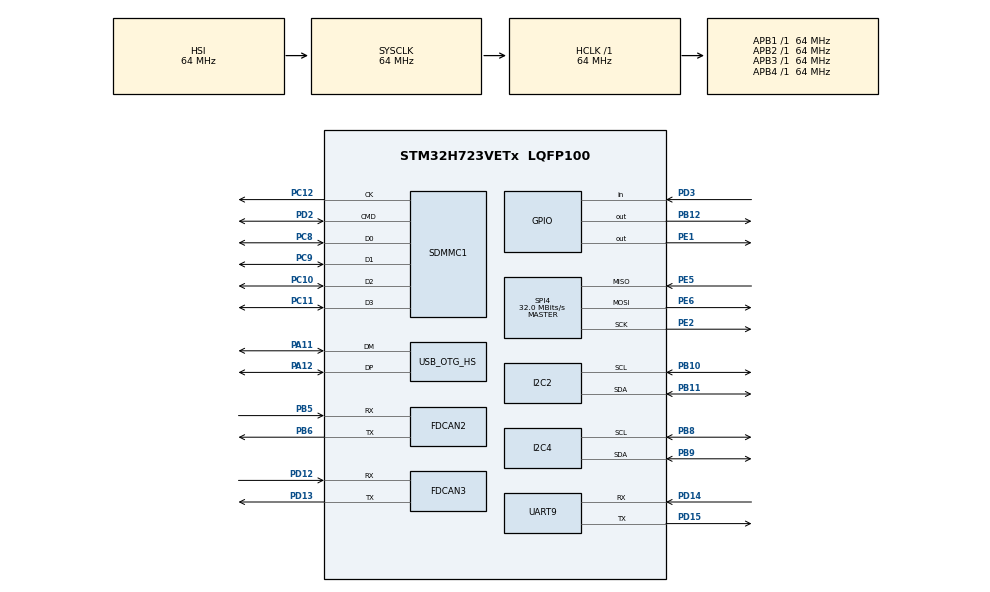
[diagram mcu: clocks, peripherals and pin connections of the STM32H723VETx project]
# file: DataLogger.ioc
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FDCAN2.CalculateBaudRateNominal=631641
FDCAN2.CalculateTimeBitNominal=1583
FDCAN2.CalculateTimeQuantumNominal=316.6354822698114
FDCAN3.CalculateBaudRateNominal=631641
FDCAN3.CalculateTimeBitNominal=1583
FDCAN3.CalculateTimeQuantumNominal=316.6354822698114
Mcu.Family=STM32H7
Mcu.Name=STM32H723VETx
Mcu.Package=LQFP100
NVIC.PriorityGroup=NVIC_PRIORITYGROUP_4
PA11.Mode=Device_Only_FS
PA11.Signal=USB_OTG_HS_DM
PA12.Mode=Device_Only_FS
PA12.Signal=USB_OTG_HS_DP
PA13(JTMS/SWDIO).Mode=Trace_Asynchronous_SW
PA13(JTMS/SWDIO).Signal=DEBUG_JTMS-SWDIO
PA14(JTCK/SWCLK).Mode=Trace_Asynchronous_SW
PA14(JTCK/SWCLK).Signal=DEBUG_JTCK-SWCLK
PB10.Mode=I2C
PB10.Signal=I2C2_SCL
PB11.Mode=I2C
PB11.Signal=I2C2_SDA
PB12.Signal=GPIO_Output
PB3(JTDO/TRACESWO).Mode=Trace_Asynchronous_SW
PB3(JTDO/TRACESWO).Signal=DEBUG_JTDO-SWO
PB5.Mode=FDCAN_Activate
PB5.Signal=FDCAN2_RX
PB6.Mode=FDCAN_Activate
PB6.Signal=FDCAN2_TX
PB8.Mode=I2C
PB8.Signal=I2C4_SCL
PB9.Mode=I2C
PB9.Signal=I2C4_SDA
PC10.Mode=SD_4_bits_Wide_bus
PC10.Signal=SDMMC1_D2
PC11.Mode=SD_4_bits_Wide_bus
PC11.Signal=SDMMC1_D3
PC12.Mode=SD_4_bits_Wide_bus
PC12.Signal=SDMMC1_CK
PC8.Mode=SD_4_bits_Wide_bus
PC8.Signal=SDMMC1_D0
PC9.Mode=SD_4_bits_Wide_bus
PC9.Signal=SDMMC1_D1
PD12.Mode=FDCAN_Activate
PD12.Signal=FDCAN3_RX
PD13.Mode=FDCAN_Activate
PD13.Signal=FDCAN3_TX
PD14.Mode=Asynchronous
PD14.Signal=UART9_RX
PD15.Mode=Asynchronous
PD15.Signal=UART9_TX
PD2.Mode=SD_4_bits_Wide_bus
PD2.Signal=SDMMC1_CMD
PD3.Signal=GPIO_Input
PE1.Signal=GPIO_Output
PE2.Mode=Full_Duplex_Master
PE2.Signal=SPI4_SCK
PE5.Mode=Full_Duplex_Master
PE5.Signal=SPI4_MISO
PE6.Mode=Full_Duplex_Master
PE6.Signal=SPI4_MOSI
PH0-OSC_IN.Mode=HSE-External-Oscillator
PH0-OSC_IN.Signal=RCC_OSC_IN
PH1-OSC_OUT.Mode=HSE-External-Oscillator
PH1-OSC_OUT.Signal=RCC_OSC_OUT
ProjectManager.HeapSize=0x200
ProjectManager.StackSize=0x400
ProjectManager.TargetToolchain=STM32CubeIDE
RCC.ADCFreq_Value=50390625
RCC.APB1Freq_Value=64000000
RCC.APB2Freq_Value=64000000
RCC.APB3Freq_Value=64000000
RCC.APB4Freq_Value=64000000
RCC.CortexFreq_Value=64000000
RCC.HCLKFreq_Value=64000000
RCC.PLL2FRACN=0
RCC.PLL3FRACN=0
RCC.PLLFRACN=2950
RCC.SYSCLKFreq_VALUE=64000000
RCC.USBFreq_Value=50531291.96166992
SPI4.CalculateBaudRate=32.0 MBits/s
SPI4.Direction=SPI_DIRECTION_2LINES
SPI4.Mode=SPI_MODE_MASTER
SPI4.VirtualType=VM_MASTER
USB_OTG_HS.VirtualMode-Device_Only_FS=Device_Only_FS
board=custom

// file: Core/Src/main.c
/* USER CODE BEGIN Header */
/**
  ******************************************************************************
  * @file           : main.c
  * @brief          : Main program body
  ******************************************************************************
  * @attention
  *
  * Copyright (c) 2023 STMicroelectronics.
  * All rights reserved.
  *
  * This software is licensed under terms that can be found in the LICENSE file
  * in the root directory of this software component.
  * If no LICENSE file comes with this software, it is provided AS-IS.
  *
  ******************************************************************************
  */
/* USER CODE END Header */
#include "main.h"

/* USER CODE BEGIN PD */
#define INA260_ADDRESS 0x40
/* USER CODE END PD */

FDCAN_HandleTypeDef hfdcan2;
FDCAN_HandleTypeDef hfdcan3;

I2C_HandleTypeDef hi2c2;
I2C_HandleTypeDef hi2c4;

SD_HandleTypeDef hsd1;

SPI_HandleTypeDef hspi4;

UART_HandleTypeDef huart9;

PCD_HandleTypeDef hpcd_USB_OTG_HS;

void SystemClock_Config(void);
static void MPU_Initialize(void);
static void MPU_Config(void);
static void MX_GPIO_Init(void);
static void MX_FDCAN2_Init(void);
static void MX_FDCAN3_Init(void);
static void MX_I2C2_Init(void);
static void MX_I2C4_Init(void);
static void MX_SDMMC1_SD_Init(void);
static void MX_SPI4_Init(void);
static void MX_UART9_Init(void);
static void MX_USB_OTG_HS_PCD_Init(void);

/* USER CODE BEGIN 0 */
void INA260_WriteRegister(uint8_t reg, uint16_t data) {
	uint8_t	buffer[3];

	buffer[0] = reg;
	buffer[1] = (uint8_t)(data >> 8);
	buffer[2] = (uint8_t)(data);

	HAL_I2C_Master_Transmit(&hi2c2, INA260_ADDRESS << 1, buffer, sizeof(buffer), HAL_MAX_DELAY);
}

void INA_260_ReadRegister(uint8_t reg, uint16_t *data) {
	HAL_I2C_Master_Transmit(&hi2c2, INA260_ADDRESS << 1, &reg, 1, HAL_MAX_DELAY);

	HAL_I2C_Master_Receive(&hi2c2, (INA260_ADDRESS << 1) | 1, (uint8_t *)data, 2, HAL_MAX_DELAY);
}

float getAnalog(uint8_t channel) {
	uint8_t buffer[2];
	uint8_t channel_shifted = channel << 3;

	HAL_GPIO_WritePin(GPIOE, GPIO_PIN_1, GPIO_PIN_RESET);
	HAL_SPI_Transmit(&hspi4, &channel_shifted, 1, HAL_MAX_DELAY);
	HAL_Delay(1);
	HAL_SPI_Receive(&hspi4, (uint8_t *)buffer, 2, HAL_MAX_DELAY);
	HAL_GPIO_WritePin(GPIOE, GPIO_PIN_1, GPIO_PIN_SET);

    return (float)((buffer[0] << 4) | (buffer[1] >> 4));
}

float getVoltage(void) {
	uint16_t voltageData;
	INA_260_ReadRegister(0x02, &voltageData);

	float voltage = voltageData * 0.00125; // 1.25 mV per LSB

	return voltage;
}

float getCurrent(void) {
	uint16_t currentData;
	INA_260_ReadRegister(0x01, &currentData);

	float current = currentData * 0.00125; // 1.25 mA per LSB

	return current;
}
/* USER CODE END 0 */

int main(void)
{

  /* MCU Configuration--------------------------------------------------------*/

  /* Reset of all peripherals, Initializes the Flash interface and the Systick. */
  HAL_Init();

  /* MPU Configuration--------------------------------------------------------*/
  MPU_Config();

  /* Configure the system clock */
  SystemClock_Config();

  /* Initialize all configured peripherals */
  MX_GPIO_Init();
  MX_FDCAN2_Init();
  MX_FDCAN3_Init();
  MX_I2C2_Init();
  MX_I2C4_Init();
  MX_SDMMC1_SD_Init();
  MX_SPI4_Init();
  MX_UART9_Init();
  MX_USB_OTG_HS_PCD_Init();

  /* Infinite loop */
  /* USER CODE BEGIN WHILE */
  while (1)
  {
	  float voltage = getVoltage();
	  float current = getCurrent();
	  float analog = getAnalog(0);
    /* USER CODE END WHILE */

  }
}

void SystemClock_Config(void)
{
  RCC_OscInitTypeDef RCC_OscInitStruct = {0};
  RCC_ClkInitTypeDef RCC_ClkInitStruct = {0};

  /** Supply configuration update enable
  */
  HAL_PWREx_ConfigSupply(PWR_LDO_SUPPLY);

  /** Configure the main internal regulator output voltage
  */
  __HAL_PWR_VOLTAGESCALING_CONFIG(PWR_REGULATOR_VOLTAGE_SCALE3);

  while(!__HAL_PWR_GET_FLAG(PWR_FLAG_VOSRDY)) {}

  /** Initializes the RCC Oscillators according to the specified parameters
  * in the RCC_OscInitTypeDef structure.
  */
  RCC_OscInitStruct.OscillatorType = RCC_OSCILLATORTYPE_HSI|RCC_OSCILLATORTYPE_HSE;
  RCC_OscInitStruct.HSEState = RCC_HSE_ON;
  RCC_OscInitStruct.HSIState = RCC_HSI_DIV1;
  RCC_OscInitStruct.HSICalibrationValue = 64;
  RCC_OscInitStruct.PLL.PLLState = RCC_PLL_ON;
  RCC_OscInitStruct.PLL.PLLSource = RCC_PLLSOURCE_HSE;
  RCC_OscInitStruct.PLL.PLLM = 32;
  RCC_OscInitStruct.PLL.PLLN = 129;
  RCC_OscInitStruct.PLL.PLLP = 2;
  RCC_OscInitStruct.PLL.PLLQ = 2;
  RCC_OscInitStruct.PLL.PLLR = 2;
  RCC_OscInitStruct.PLL.PLLRGE = RCC_PLL1VCIRANGE_3;
  RCC_OscInitStruct.PLL.PLLVCOSEL = RCC_PLL1VCOWIDE;
  RCC_OscInitStruct.PLL.PLLFRACN = 2950;
  if (HAL_RCC_OscConfig(&RCC_OscInitStruct) != HAL_OK)
  {
    Error_Handler();
  }

  /** Initializes the CPU, AHB and APB buses clocks
  */
  RCC_ClkInitStruct.ClockType = RCC_CLOCKTYPE_HCLK|RCC_CLOCKTYPE_SYSCLK
                              |RCC_CLOCKTYPE_PCLK1|RCC_CLOCKTYPE_PCLK2
                              |RCC_CLOCKTYPE_D3PCLK1|RCC_CLOCKTYPE_D1PCLK1;
  RCC_ClkInitStruct.SYSCLKSource = RCC_SYSCLKSOURCE_HSI;
  RCC_ClkInitStruct.SYSCLKDivider = RCC_SYSCLK_DIV1;
  RCC_ClkInitStruct.AHBCLKDivider = RCC_HCLK_DIV1;
  RCC_ClkInitStruct.APB3CLKDivider = RCC_APB3_DIV1;
  RCC_ClkInitStruct.APB1CLKDivider = RCC_APB1_DIV1;
  RCC_ClkInitStruct.APB2CLKDivider = RCC_APB2_DIV1;
  RCC_ClkInitStruct.APB4CLKDivider = RCC_APB4_DIV1;

  if (HAL_RCC_ClockConfig(&RCC_ClkInitStruct, FLASH_LATENCY_1) != HAL_OK)
  {
    Error_Handler();
  }
}

static void MX_FDCAN2_Init(void)
{

  hfdcan2.Instance = FDCAN2;
  hfdcan2.Init.FrameFormat = FDCAN_FRAME_CLASSIC;
  hfdcan2.Init.Mode = FDCAN_MODE_NORMAL;
  hfdcan2.Init.AutoRetransmission = DISABLE;
  hfdcan2.Init.TransmitPause = DISABLE;
  hfdcan2.Init.ProtocolException = DISABLE;
  hfdcan2.Init.NominalPrescaler = 16;
  hfdcan2.Init.NominalSyncJumpWidth = 1;
  hfdcan2.Init.NominalTimeSeg1 = 2;
  hfdcan2.Init.NominalTimeSeg2 = 2;
  hfdcan2.Init.DataPrescaler = 1;
  hfdcan2.Init.DataSyncJumpWidth = 1;
  hfdcan2.Init.DataTimeSeg1 = 1;
  hfdcan2.Init.DataTimeSeg2 = 1;
  hfdcan2.Init.MessageRAMOffset = 0;
  hfdcan2.Init.StdFiltersNbr = 0;
  hfdcan2.Init.ExtFiltersNbr = 0;
  hfdcan2.Init.RxFifo0ElmtsNbr = 0;
  hfdcan2.Init.RxFifo0ElmtSize = FDCAN_DATA_BYTES_8;
  hfdcan2.Init.RxFifo1ElmtsNbr = 0;
  hfdcan2.Init.RxFifo1ElmtSize = FDCAN_DATA_BYTES_8;
  hfdcan2.Init.RxBuffersNbr = 0;
  hfdcan2.Init.RxBufferSize = FDCAN_DATA_BYTES_8;
  hfdcan2.Init.TxEventsNbr = 0;
  hfdcan2.Init.TxBuffersNbr = 0;
  hfdcan2.Init.TxFifoQueueElmtsNbr = 0;
  hfdcan2.Init.TxFifoQueueMode = FDCAN_TX_FIFO_OPERATION;
  hfdcan2.Init.TxElmtSize = FDCAN_DATA_BYTES_8;
  if (HAL_FDCAN_Init(&hfdcan2) != HAL_OK)
  {
    Error_Handler();
  }

}

static void MX_FDCAN3_Init(void)
{

  hfdcan3.Instance = FDCAN3;
  hfdcan3.Init.FrameFormat = FDCAN_FRAME_CLASSIC;
  hfdcan3.Init.Mode = FDCAN_MODE_NORMAL;
  hfdcan3.Init.AutoRetransmission = DISABLE;
  hfdcan3.Init.TransmitPause = DISABLE;
  hfdcan3.Init.ProtocolException = DISABLE;
  hfdcan3.Init.NominalPrescaler = 16;
  hfdcan3.Init.NominalSyncJumpWidth = 1;
  hfdcan3.Init.NominalTimeSeg1 = 2;
  hfdcan3.Init.NominalTimeSeg2 = 2;
  hfdcan3.Init.DataPrescaler = 1;
  hfdcan3.Init.DataSyncJumpWidth = 1;
  hfdcan3.Init.DataTimeSeg1 = 1;
  hfdcan3.Init.DataTimeSeg2 = 1;
  hfdcan3.Init.MessageRAMOffset = 0;
  hfdcan3.Init.StdFiltersNbr = 0;
  hfdcan3.Init.ExtFiltersNbr = 0;
  hfdcan3.Init.RxFifo0ElmtsNbr = 0;
  hfdcan3.Init.RxFifo0ElmtSize = FDCAN_DATA_BYTES_8;
  hfdcan3.Init.RxFifo1ElmtsNbr = 0;
  hfdcan3.Init.RxFifo1ElmtSize = FDCAN_DATA_BYTES_8;
  hfdcan3.Init.RxBuffersNbr = 0;
  hfdcan3.Init.RxBufferSize = FDCAN_DATA_BYTES_8;
  hfdcan3.Init.TxEventsNbr = 0;
  hfdcan3.Init.TxBuffersNbr = 0;
  hfdcan3.Init.TxFifoQueueElmtsNbr = 0;
  hfdcan3.Init.TxFifoQueueMode = FDCAN_TX_FIFO_OPERATION;
  hfdcan3.Init.TxElmtSize = FDCAN_DATA_BYTES_8;
  if (HAL_FDCAN_Init(&hfdcan3) != HAL_OK)
  {
    Error_Handler();
  }

}

static void MX_I2C2_Init(void)
{

  hi2c2.Instance = I2C2;
  hi2c2.Init.Timing = 0x10707DBC;
  hi2c2.Init.OwnAddress1 = 0;
  hi2c2.Init.AddressingMode = I2C_ADDRESSINGMODE_7BIT;
  hi2c2.Init.DualAddressMode = I2C_DUALADDRESS_DISABLE;
  hi2c2.Init.OwnAddress2 = 0;
  hi2c2.Init.OwnAddress2Masks = I2C_OA2_NOMASK;
  hi2c2.Init.GeneralCallMode = I2C_GENERALCALL_DISABLE;
  hi2c2.Init.NoStretchMode = I2C_NOSTRETCH_DISABLE;
  if (HAL_I2C_Init(&hi2c2) != HAL_OK)
  {
    Error_Handler();
  }

  /** Configure Analogue filter
  */
  if (HAL_I2CEx_ConfigAnalogFilter(&hi2c2, I2C_ANALOGFILTER_ENABLE) != HAL_OK)
  {
    Error_Handler();
  }

  /** Configure Digital filter
  */
  if (HAL_I2CEx_ConfigDigitalFilter(&hi2c2, 0) != HAL_OK)
  {
    Error_Handler();
  }

}

static void MX_I2C4_Init(void)
{

  hi2c4.Instance = I2C4;
  hi2c4.Init.Timing = 0x10707DBC;
  hi2c4.Init.OwnAddress1 = 0;
  hi2c4.Init.AddressingMode = I2C_ADDRESSINGMODE_7BIT;
  hi2c4.Init.DualAddressMode = I2C_DUALADDRESS_DISABLE;
  hi2c4.Init.OwnAddress2 = 0;
  hi2c4.Init.OwnAddress2Masks = I2C_OA2_NOMASK;
  hi2c4.Init.GeneralCallMode = I2C_GENERALCALL_DISABLE;
  hi2c4.Init.NoStretchMode = I2C_NOSTRETCH_DISABLE;
  if (HAL_I2C_Init(&hi2c4) != HAL_OK)
  {
    Error_Handler();
  }

  /** Configure Analogue filter
  */
  if (HAL_I2CEx_ConfigAnalogFilter(&hi2c4, I2C_ANALOGFILTER_ENABLE) != HAL_OK)
  {
    Error_Handler();
  }

  /** Configure Digital filter
  */
  if (HAL_I2CEx_ConfigDigitalFilter(&hi2c4, 0) != HAL_OK)
  {
    Error_Handler();
  }

}

static void MX_SDMMC1_SD_Init(void)
{

  hsd1.Instance = SDMMC1;
  hsd1.Init.ClockEdge = SDMMC_CLOCK_EDGE_RISING;
  hsd1.Init.ClockPowerSave = SDMMC_CLOCK_POWER_SAVE_DISABLE;
  hsd1.Init.BusWide = SDMMC_BUS_WIDE_4B;
  hsd1.Init.HardwareFlowControl = SDMMC_HARDWARE_FLOW_CONTROL_DISABLE;
  hsd1.Init.ClockDiv = 0;
  if (HAL_SD_Init(&hsd1) != HAL_OK)
  {
    Error_Handler();
  }

}

static void MX_SPI4_Init(void)
{

  /* SPI4 parameter configuration*/
  hspi4.Instance = SPI4;
  hspi4.Init.Mode = SPI_MODE_MASTER;
  hspi4.Init.Direction = SPI_DIRECTION_2LINES;
  hspi4.Init.DataSize = SPI_DATASIZE_4BIT;
  hspi4.Init.CLKPolarity = SPI_POLARITY_LOW;
  hspi4.Init.CLKPhase = SPI_PHASE_1EDGE;
  hspi4.Init.NSS = SPI_NSS_SOFT;
  hspi4.Init.BaudRatePrescaler = SPI_BAUDRATEPRESCALER_2;
  hspi4.Init.FirstBit = SPI_FIRSTBIT_MSB;
  hspi4.Init.TIMode = SPI_TIMODE_DISABLE;
  hspi4.Init.CRCCalculation = SPI_CRCCALCULATION_DISABLE;
  hspi4.Init.CRCPolynomial = 0x0;
  hspi4.Init.NSSPMode = SPI_NSS_PULSE_ENABLE;
  hspi4.Init.NSSPolarity = SPI_NSS_POLARITY_LOW;
  hspi4.Init.FifoThreshold = SPI_FIFO_THRESHOLD_01DATA;
  hspi4.Init.TxCRCInitializationPattern = SPI_CRC_INITIALIZATION_ALL_ZERO_PATTERN;
  hspi4.Init.RxCRCInitializationPattern = SPI_CRC_INITIALIZATION_ALL_ZERO_PATTERN;
  hspi4.Init.MasterSSIdleness = SPI_MASTER_SS_IDLENESS_00CYCLE;
  hspi4.Init.MasterInterDataIdleness = SPI_MASTER_INTERDATA_IDLENESS_00CYCLE;
  hspi4.Init.MasterReceiverAutoSusp = SPI_MASTER_RX_AUTOSUSP_DISABLE;
  hspi4.Init.MasterKeepIOState = SPI_MASTER_KEEP_IO_STATE_DISABLE;
  hspi4.Init.IOSwap = SPI_IO_SWAP_DISABLE;
  if (HAL_SPI_Init(&hspi4) != HAL_OK)
  {
    Error_Handler();
  }

}

static void MX_UART9_Init(void)
{

  huart9.Instance = UART9;
  huart9.Init.BaudRate = 115200;
  huart9.Init.WordLength = UART_WORDLENGTH_8B;
  huart9.Init.StopBits = UART_STOPBITS_1;
  huart9.Init.Parity = UART_PARITY_NONE;
  huart9.Init.Mode = UART_MODE_TX_RX;
  huart9.Init.HwFlowCtl = UART_HWCONTROL_NONE;
  huart9.Init.OverSampling = UART_OVERSAMPLING_16;
  huart9.Init.OneBitSampling = UART_ONE_BIT_SAMPLE_DISABLE;
  huart9.Init.ClockPrescaler = UART_PRESCALER_DIV1;
  huart9.AdvancedInit.AdvFeatureInit = UART_ADVFEATURE_NO_INIT;
  if (HAL_UART_Init(&huart9) != HAL_OK)
  {
    Error_Handler();
  }
  if (HAL_UARTEx_SetTxFifoThreshold(&huart9, UART_TXFIFO_THRESHOLD_1_8) != HAL_OK)
  {
    Error_Handler();
  }
  if (HAL_UARTEx_SetRxFifoThreshold(&huart9, UART_RXFIFO_THRESHOLD_1_8) != HAL_OK)
  {
    Error_Handler();
  }
  if (HAL_UARTEx_DisableFifoMode(&huart9) != HAL_OK)
  {
    Error_Handler();
  }

}

static void MX_USB_OTG_HS_PCD_Init(void)
{

  hpcd_USB_OTG_HS.Instance = USB_OTG_HS;
  hpcd_USB_OTG_HS.Init.dev_endpoints = 9;
  hpcd_USB_OTG_HS.Init.speed = PCD_SPEED_FULL;
  hpcd_USB_OTG_HS.Init.dma_enable = DISABLE;
  hpcd_USB_OTG_HS.Init.phy_itface = USB_OTG_EMBEDDED_PHY;
  hpcd_USB_OTG_HS.Init.Sof_enable = DISABLE;
  hpcd_USB_OTG_HS.Init.low_power_enable = DISABLE;
  hpcd_USB_OTG_HS.Init.lpm_enable = DISABLE;
  hpcd_USB_OTG_HS.Init.vbus_sensing_enable = DISABLE;
  hpcd_USB_OTG_HS.Init.use_dedicated_ep1 = DISABLE;
  hpcd_USB_OTG_HS.Init.use_external_vbus = DISABLE;
  if (HAL_PCD_Init(&hpcd_USB_OTG_HS) != HAL_OK)
  {
    Error_Handler();
  }

}

static void MX_GPIO_Init(void)
{
  GPIO_InitTypeDef GPIO_InitStruct = {0};

  /* GPIO Ports Clock Enable */
  __HAL_RCC_GPIOE_CLK_ENABLE();
  __HAL_RCC_GPIOH_CLK_ENABLE();
  __HAL_RCC_GPIOB_CLK_ENABLE();
  __HAL_RCC_GPIOD_CLK_ENABLE();
  __HAL_RCC_GPIOC_CLK_ENABLE();
  __HAL_RCC_GPIOA_CLK_ENABLE();

  /*Configure GPIO pin Output Level */
  HAL_GPIO_WritePin(GPIOB, GPIO_PIN_12, GPIO_PIN_RESET);

  /*Configure GPIO pin Output Level */
  HAL_GPIO_WritePin(GPIOE, GPIO_PIN_1, GPIO_PIN_RESET);

  /*Configure GPIO pin : PB12 */
  GPIO_InitStruct.Pin = GPIO_PIN_12;
  GPIO_InitStruct.Mode = GPIO_MODE_OUTPUT_PP;
  GPIO_InitStruct.Pull = GPIO_NOPULL;
  GPIO_InitStruct.Speed = GPIO_SPEED_FREQ_LOW;
  HAL_GPIO_Init(GPIOB, &GPIO_InitStruct);

  /*Configure GPIO pin : PD3 */
  GPIO_InitStruct.Pin = GPIO_PIN_3;
  GPIO_InitStruct.Mode = GPIO_MODE_INPUT;
  GPIO_InitStruct.Pull = GPIO_NOPULL;
  HAL_GPIO_Init(GPIOD, &GPIO_InitStruct);

  /*Configure GPIO pin : PE1 */
  GPIO_InitStruct.Pin = GPIO_PIN_1;
  GPIO_InitStruct.Mode = GPIO_MODE_OUTPUT_PP;
  GPIO_InitStruct.Pull = GPIO_NOPULL;
  GPIO_InitStruct.Speed = GPIO_SPEED_FREQ_LOW;
  HAL_GPIO_Init(GPIOE, &GPIO_InitStruct);

}

/* MPU Configuration */

void MPU_Config(void)
{
  MPU_Region_InitTypeDef MPU_InitStruct = {0};

  /* Disables the MPU */
  HAL_MPU_Disable();

  /** Initializes and configures the Region and the memory to be protected
  */
  MPU_InitStruct.Enable = MPU_REGION_ENABLE;
  MPU_InitStruct.Number = MPU_REGION_NUMBER0;
  MPU_InitStruct.BaseAddress = 0x0;
  MPU_InitStruct.Size = MPU_REGION_SIZE_4GB;
  MPU_InitStruct.SubRegionDisable = 0x87;
  MPU_InitStruct.TypeExtField = MPU_TEX_LEVEL0;
  MPU_InitStruct.AccessPermission = MPU_REGION_NO_ACCESS;
  MPU_InitStruct.DisableExec = MPU_INSTRUCTION_ACCESS_DISABLE;
  MPU_InitStruct.IsShareable = MPU_ACCESS_SHAREABLE;
  MPU_InitStruct.IsCacheable = MPU_ACCESS_NOT_CACHEABLE;
  MPU_InitStruct.IsBufferable = MPU_ACCESS_NOT_BUFFERABLE;

  HAL_MPU_ConfigRegion(&MPU_InitStruct);
  /* Enables the MPU */
  HAL_MPU_Enable(MPU_PRIVILEGED_DEFAULT);

}

void Error_Handler(void)
{
  __disable_irq();
  while (1)
  {
  }
}
